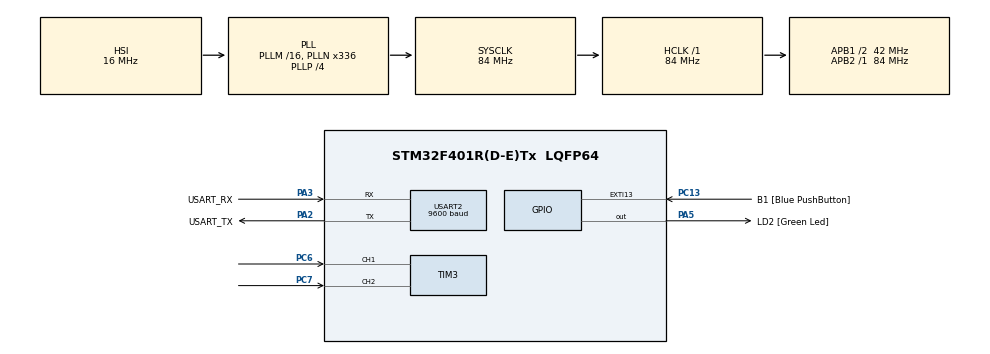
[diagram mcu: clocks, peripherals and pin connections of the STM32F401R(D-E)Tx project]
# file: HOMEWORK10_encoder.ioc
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Dma.Request0=USART2_TX
Dma.USART2_TX.0.Direction=DMA_MEMORY_TO_PERIPH
Dma.USART2_TX.0.FIFOMode=DMA_FIFOMODE_DISABLE
Dma.USART2_TX.0.Instance=DMA1_Stream6
Dma.USART2_TX.0.MemDataAlignment=DMA_MDATAALIGN_BYTE
Dma.USART2_TX.0.MemInc=DMA_MINC_ENABLE
Dma.USART2_TX.0.Mode=DMA_NORMAL
Dma.USART2_TX.0.PeriphDataAlignment=DMA_PDATAALIGN_BYTE
Dma.USART2_TX.0.PeriphInc=DMA_PINC_DISABLE
Dma.USART2_TX.0.Priority=DMA_PRIORITY_LOW
Mcu.Family=STM32F4
Mcu.Name=STM32F401R(D-E)Tx
Mcu.Package=LQFP64
NVIC.DMA1_Stream6_IRQn=true\:0\:0\:false\:false\:true\:false\:true\:true
NVIC.PriorityGroup=NVIC_PRIORITYGROUP_4
NVIC.TIM2_IRQn=true\:0\:0\:false\:false\:true\:true\:true\:true
NVIC.USART2_IRQn=true\:0\:0\:false\:false\:true\:true\:true\:true
PA13.GPIO_Label=TMS
PA13.Mode=Trace_Asynchronous_SW
PA13.Signal=SYS_JTMS-SWDIO
PA14.GPIO_Label=TCK
PA14.Mode=Trace_Asynchronous_SW
PA14.Signal=SYS_JTCK-SWCLK
PA2.GPIO_Label=USART_TX
PA2.GPIO_Mode=GPIO_MODE_AF_PP
PA2.GPIO_PuPd=GPIO_NOPULL
PA2.GPIO_Speed=GPIO_SPEED_FREQ_LOW
PA2.Mode=Asynchronous
PA2.Signal=USART2_TX
PA3.GPIO_Label=USART_RX
PA3.GPIO_Mode=GPIO_MODE_AF_PP
PA3.GPIO_PuPd=GPIO_NOPULL
PA3.GPIO_Speed=GPIO_SPEED_FREQ_LOW
PA3.Mode=Asynchronous
PA3.Signal=USART2_RX
PA5.GPIO_Label=LD2 [Green Led]
PA5.GPIO_Mode=GPIO_MODE_OUTPUT_PP
PA5.GPIO_PuPd=GPIO_NOPULL
PA5.GPIO_Speed=GPIO_SPEED_FREQ_LOW
PA5.Signal=GPIO_Output
PB3.GPIO_Label=SWO
PB3.Mode=Trace_Asynchronous_SW
PB3.Signal=SYS_JTDO-SWO
PC13-ANTI_TAMP.GPIO_Label=B1 [Blue PushButton]
PC13-ANTI_TAMP.GPIO_ModeDefaultEXTI=GPIO_MODE_IT_FALLING
PC13-ANTI_TAMP.GPIO_PuPd=GPIO_NOPULL
PC13-ANTI_TAMP.Signal=GPXTI13
PC14-OSC32_IN.Mode=LSE-External-Oscillator
PC14-OSC32_IN.Signal=RCC_OSC32_IN
PC15-OSC32_OUT.Mode=LSE-External-Oscillator
PC15-OSC32_OUT.Signal=RCC_OSC32_OUT
PC6.Signal=S_TIM3_CH1
PC7.Signal=S_TIM3_CH2
PH0\ -\ OSC_IN.Mode=HSE-External-Clock-Source
PH0\ -\ OSC_IN.Signal=RCC_OSC_IN
PH1\ -\ OSC_OUT.Mode=HSE-External-Clock-Source
PH1\ -\ OSC_OUT.Signal=RCC_OSC_OUT
ProjectManager.HeapSize=0x200
ProjectManager.StackSize=0x400
ProjectManager.TargetToolchain=STM32CubeIDE
RCC.48MHZClocksFreq_Value=48000000
RCC.AHBFreq_Value=84000000
RCC.APB1CLKDivider=RCC_HCLK_DIV2
RCC.APB1Freq_Value=42000000
RCC.APB1TimFreq_Value=84000000
RCC.APB2Freq_Value=84000000
RCC.APB2TimFreq_Value=84000000
RCC.CortexFreq_Value=84000000
RCC.HCLKFreq_Value=84000000
RCC.HSE_VALUE=8000000
RCC.HSI_VALUE=16000000
RCC.PLLN=336
RCC.PLLP=RCC_PLLP_DIV4
RCC.PLLQ=7
RCC.SYSCLKFreq_VALUE=84000000
RCC.SYSCLKSource=RCC_SYSCLKSOURCE_PLLCLK
RCC.VCOOutputFreq_Value=336000000
SH.S_TIM3_CH1.0=TIM3_CH1,Encoder_Interface
SH.S_TIM3_CH2.0=TIM3_CH2,Encoder_Interface
TIM2.Period=9999
TIM2.Prescaler=8399
TIM3.ClockDivision=TIM_CLOCKDIVISION_DIV4
TIM3.EncoderMode=TIM_ENCODERMODE_TI12
TIM3.IC1Filter=3
TIM3.IC2Filter=3
USART2.BaudRate=9600
USART2.VirtualMode=VM_ASYNC
VP_TIM2_VS_ClockSourceINT.Mode=Internal
board=NUCLEO-F401RE

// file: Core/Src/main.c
/* USER CODE BEGIN Header */
/**
  ******************************************************************************
  * @file           : main.c
  * @brief          : Main program body
  ******************************************************************************
  * @attention
  *
  * Copyright (c) 2025 STMicroelectronics.
  * All rights reserved.
  *
  * This software is licensed under terms that can be found in the LICENSE file
  * in the root directory of this software component.
  * If no LICENSE file comes with this software, it is provided AS-IS.
  *
  ******************************************************************************
  */
/* USER CODE END Header */
#include "main.h"

/* USER CODE BEGIN Includes */
#include <stdio.h>
#include <string.h>
/* USER CODE END Includes */

/* USER CODE BEGIN PD */

#define COUNTS_PER_REV 48
char tx_buf[128];
volatile uint8_t tx_done = 1; //flag=1 -> free DMA

/* USER CODE END PD */

TIM_HandleTypeDef htim2;
TIM_HandleTypeDef htim3;

UART_HandleTypeDef huart2;
DMA_HandleTypeDef hdma_usart2_tx;

/* USER CODE BEGIN PV */

uint16_t prev_cnt = 0;

/* USER CODE END PV */

void SystemClock_Config(void);
static void MX_GPIO_Init(void);
static void MX_DMA_Init(void);
static void MX_USART2_UART_Init(void);
static void MX_TIM3_Init(void);
static void MX_TIM2_Init(void);

/* USER CODE BEGIN 0 */

void HAL_UART_TxCpltCallback(UART_HandleTypeDef *huart)
{
	if(huart == &huart2){
		tx_done = 1;
	}
}

void HAL_TIM_PeriodElapsedCallback(TIM_HandleTypeDef *htim)
{
	if(htim == &htim2)
	{
		uint16_t curr_cnt = __HAL_TIM_GET_COUNTER(&htim3);
		int16_t delta = (int16_t)(curr_cnt - prev_cnt); //cast to int in order to manage the overflow/underflow
		prev_cnt = curr_cnt;

		//RPM = delta * 60 / COUNTS_PER_REV
		int32_t rpm = 0;
		rpm = ((int32_t)delta * 60) / (int32_t)COUNTS_PER_REV; //delta converted to int32_t before multiplication in order to avoid overflow

		char direction;
		if(delta > 0){
		  direction = '+'; //clockwise
		} else if(delta < 0){
		  direction = '-'; //anti-clockwise
		} else {
		  direction = '0'; //no movement
		}

		int len = snprintf(tx_buf, sizeof(tx_buf), "Delta: %d  RPM: %ld  Direction: %c\r\n", (int)delta, (long)rpm, direction);

		if(tx_done){
		  tx_done = 0;
		  if (HAL_UART_Transmit_DMA(&huart2, (uint8_t*)tx_buf, (uint16_t)len) != HAL_OK) {
			  tx_done = 1; // DMA startup error -> reset flag
		  }
		}
	}

}

/* USER CODE END 0 */

int main(void)
{

  /* MCU Configuration--------------------------------------------------------*/

  /* Reset of all peripherals, Initializes the Flash interface and the Systick. */
  HAL_Init();

  /* Configure the system clock */
  SystemClock_Config();

  /* Initialize all configured peripherals */
  MX_GPIO_Init();
  MX_DMA_Init();
  MX_USART2_UART_Init();
  MX_TIM3_Init();
  MX_TIM2_Init();
  /* USER CODE BEGIN 2 */

  if(HAL_TIM_Encoder_Start(&htim3, TIM_CHANNEL_ALL) != HAL_OK){
	  Error_Handler();
  }

  prev_cnt = __HAL_TIM_GET_COUNTER(&htim3);

  if(HAL_TIM_Base_Start_IT(&htim2) != HAL_OK){
  	  Error_Handler();
    }

  /* USER CODE END 2 */

  /* Infinite loop */
  while (1)
  {

  }
}

void SystemClock_Config(void)
{
  RCC_OscInitTypeDef RCC_OscInitStruct = {0};
  RCC_ClkInitTypeDef RCC_ClkInitStruct = {0};

  /** Configure the main internal regulator output voltage
  */
  __HAL_RCC_PWR_CLK_ENABLE();
  __HAL_PWR_VOLTAGESCALING_CONFIG(PWR_REGULATOR_VOLTAGE_SCALE2);

  /** Initializes the RCC Oscillators according to the specified parameters
  * in the RCC_OscInitTypeDef structure.
  */
  RCC_OscInitStruct.OscillatorType = RCC_OSCILLATORTYPE_HSI;
  RCC_OscInitStruct.HSIState = RCC_HSI_ON;
  RCC_OscInitStruct.HSICalibrationValue = RCC_HSICALIBRATION_DEFAULT;
  RCC_OscInitStruct.PLL.PLLState = RCC_PLL_ON;
  RCC_OscInitStruct.PLL.PLLSource = RCC_PLLSOURCE_HSI;
  RCC_OscInitStruct.PLL.PLLM = 16;
  RCC_OscInitStruct.PLL.PLLN = 336;
  RCC_OscInitStruct.PLL.PLLP = RCC_PLLP_DIV4;
  RCC_OscInitStruct.PLL.PLLQ = 7;
  if (HAL_RCC_OscConfig(&RCC_OscInitStruct) != HAL_OK)
  {
    Error_Handler();
  }

  /** Initializes the CPU, AHB and APB buses clocks
  */
  RCC_ClkInitStruct.ClockType = RCC_CLOCKTYPE_HCLK|RCC_CLOCKTYPE_SYSCLK
                              |RCC_CLOCKTYPE_PCLK1|RCC_CLOCKTYPE_PCLK2;
  RCC_ClkInitStruct.SYSCLKSource = RCC_SYSCLKSOURCE_PLLCLK;
  RCC_ClkInitStruct.AHBCLKDivider = RCC_SYSCLK_DIV1;
  RCC_ClkInitStruct.APB1CLKDivider = RCC_HCLK_DIV2;
  RCC_ClkInitStruct.APB2CLKDivider = RCC_HCLK_DIV1;

  if (HAL_RCC_ClockConfig(&RCC_ClkInitStruct, FLASH_LATENCY_2) != HAL_OK)
  {
    Error_Handler();
  }
}

static void MX_TIM2_Init(void)
{

  TIM_ClockConfigTypeDef sClockSourceConfig = {0};
  TIM_MasterConfigTypeDef sMasterConfig = {0};

  htim2.Instance = TIM2;
  htim2.Init.Prescaler = 8399;
  htim2.Init.CounterMode = TIM_COUNTERMODE_UP;
  htim2.Init.Period = 9999;
  htim2.Init.ClockDivision = TIM_CLOCKDIVISION_DIV1;
  htim2.Init.AutoReloadPreload = TIM_AUTORELOAD_PRELOAD_DISABLE;
  if (HAL_TIM_Base_Init(&htim2) != HAL_OK)
  {
    Error_Handler();
  }
  sClockSourceConfig.ClockSource = TIM_CLOCKSOURCE_INTERNAL;
  if (HAL_TIM_ConfigClockSource(&htim2, &sClockSourceConfig) != HAL_OK)
  {
    Error_Handler();
  }
  sMasterConfig.MasterOutputTrigger = TIM_TRGO_RESET;
  sMasterConfig.MasterSlaveMode = TIM_MASTERSLAVEMODE_DISABLE;
  if (HAL_TIMEx_MasterConfigSynchronization(&htim2, &sMasterConfig) != HAL_OK)
  {
    Error_Handler();
  }

}

static void MX_TIM3_Init(void)
{

  TIM_Encoder_InitTypeDef sConfig = {0};
  TIM_MasterConfigTypeDef sMasterConfig = {0};

  htim3.Instance = TIM3;
  htim3.Init.Prescaler = 0;
  htim3.Init.CounterMode = TIM_COUNTERMODE_UP;
  htim3.Init.Period = 65535;
  htim3.Init.ClockDivision = TIM_CLOCKDIVISION_DIV4;
  htim3.Init.AutoReloadPreload = TIM_AUTORELOAD_PRELOAD_DISABLE;
  sConfig.EncoderMode = TIM_ENCODERMODE_TI12;
  sConfig.IC1Polarity = TIM_ICPOLARITY_RISING;
  sConfig.IC1Selection = TIM_ICSELECTION_DIRECTTI;
  sConfig.IC1Prescaler = TIM_ICPSC_DIV1;
  sConfig.IC1Filter = 3;
  sConfig.IC2Polarity = TIM_ICPOLARITY_RISING;
  sConfig.IC2Selection = TIM_ICSELECTION_DIRECTTI;
  sConfig.IC2Prescaler = TIM_ICPSC_DIV1;
  sConfig.IC2Filter = 3;
  if (HAL_TIM_Encoder_Init(&htim3, &sConfig) != HAL_OK)
  {
    Error_Handler();
  }
  sMasterConfig.MasterOutputTrigger = TIM_TRGO_RESET;
  sMasterConfig.MasterSlaveMode = TIM_MASTERSLAVEMODE_DISABLE;
  if (HAL_TIMEx_MasterConfigSynchronization(&htim3, &sMasterConfig) != HAL_OK)
  {
    Error_Handler();
  }

}

static void MX_USART2_UART_Init(void)
{

  huart2.Instance = USART2;
  huart2.Init.BaudRate = 9600;
  huart2.Init.WordLength = UART_WORDLENGTH_8B;
  huart2.Init.StopBits = UART_STOPBITS_1;
  huart2.Init.Parity = UART_PARITY_NONE;
  huart2.Init.Mode = UART_MODE_TX_RX;
  huart2.Init.HwFlowCtl = UART_HWCONTROL_NONE;
  huart2.Init.OverSampling = UART_OVERSAMPLING_16;
  if (HAL_UART_Init(&huart2) != HAL_OK)
  {
    Error_Handler();
  }

}

static void MX_DMA_Init(void)
{

  /* DMA controller clock enable */
  __HAL_RCC_DMA1_CLK_ENABLE();

  /* DMA interrupt init */
  /* DMA1_Stream6_IRQn interrupt configuration */
  HAL_NVIC_SetPriority(DMA1_Stream6_IRQn, 0, 0);
  HAL_NVIC_EnableIRQ(DMA1_Stream6_IRQn);

}

static void MX_GPIO_Init(void)
{
  GPIO_InitTypeDef GPIO_InitStruct = {0};

  /* GPIO Ports Clock Enable */
  __HAL_RCC_GPIOC_CLK_ENABLE();
  __HAL_RCC_GPIOH_CLK_ENABLE();
  __HAL_RCC_GPIOA_CLK_ENABLE();
  __HAL_RCC_GPIOB_CLK_ENABLE();

  /*Configure GPIO pin Output Level */
  HAL_GPIO_WritePin(LD2_GPIO_Port, LD2_Pin, GPIO_PIN_RESET);

  /*Configure GPIO pin : B1_Pin */
  GPIO_InitStruct.Pin = B1_Pin;
  GPIO_InitStruct.Mode = GPIO_MODE_IT_FALLING;
  GPIO_InitStruct.Pull = GPIO_NOPULL;
  HAL_GPIO_Init(B1_GPIO_Port, &GPIO_InitStruct);

  /*Configure GPIO pin : LD2_Pin */
  GPIO_InitStruct.Pin = LD2_Pin;
  GPIO_InitStruct.Mode = GPIO_MODE_OUTPUT_PP;
  GPIO_InitStruct.Pull = GPIO_NOPULL;
  GPIO_InitStruct.Speed = GPIO_SPEED_FREQ_LOW;
  HAL_GPIO_Init(LD2_GPIO_Port, &GPIO_InitStruct);

}

void Error_Handler(void)
{
  __disable_irq();
  while (1)
  {
  }
}
